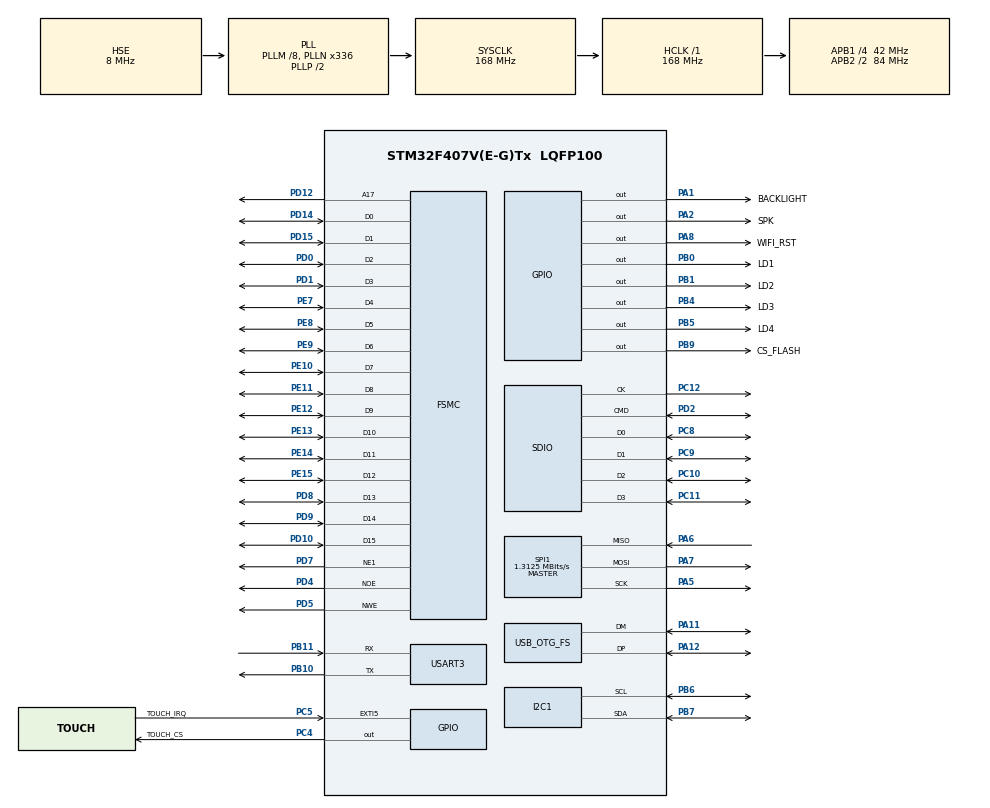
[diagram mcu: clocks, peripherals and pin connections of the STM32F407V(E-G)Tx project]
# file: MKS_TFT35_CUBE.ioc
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Dma.Request0=SDIO_RX
Dma.Request1=SDIO_TX
Dma.SDIO_RX.0.Direction=DMA_PERIPH_TO_MEMORY
Dma.SDIO_RX.0.FIFOMode=DMA_FIFOMODE_ENABLE
Dma.SDIO_RX.0.FIFOThreshold=DMA_FIFO_THRESHOLD_FULL
Dma.SDIO_RX.0.Instance=DMA2_Stream3
Dma.SDIO_RX.0.MemBurst=DMA_MBURST_INC4
Dma.SDIO_RX.0.MemDataAlignment=DMA_MDATAALIGN_WORD
Dma.SDIO_RX.0.MemInc=DMA_MINC_ENABLE
Dma.SDIO_RX.0.Mode=DMA_PFCTRL
Dma.SDIO_RX.0.PeriphBurst=DMA_PBURST_INC4
Dma.SDIO_RX.0.PeriphDataAlignment=DMA_PDATAALIGN_WORD
Dma.SDIO_RX.0.PeriphInc=DMA_PINC_DISABLE
Dma.SDIO_RX.0.Priority=DMA_PRIORITY_VERY_HIGH
Dma.SDIO_TX.1.Direction=DMA_MEMORY_TO_PERIPH
Dma.SDIO_TX.1.FIFOMode=DMA_FIFOMODE_ENABLE
Dma.SDIO_TX.1.FIFOThreshold=DMA_FIFO_THRESHOLD_FULL
Dma.SDIO_TX.1.Instance=DMA2_Stream6
Dma.SDIO_TX.1.MemBurst=DMA_MBURST_INC4
Dma.SDIO_TX.1.MemDataAlignment=DMA_MDATAALIGN_WORD
Dma.SDIO_TX.1.MemInc=DMA_MINC_ENABLE
Dma.SDIO_TX.1.Mode=DMA_PFCTRL
Dma.SDIO_TX.1.PeriphBurst=DMA_PBURST_INC4
Dma.SDIO_TX.1.PeriphDataAlignment=DMA_PDATAALIGN_WORD
Dma.SDIO_TX.1.PeriphInc=DMA_PINC_DISABLE
Dma.SDIO_TX.1.Priority=DMA_PRIORITY_VERY_HIGH
FATFS.USE_DMA_CODE_SD=1
FATFS._FS_RPATH=2
FATFS._MAX_SS=512
FATFS._USE_FIND=1
FATFS._USE_LFN=1
FSMC.AccessMode1=FSMC_ACCESS_MODE_D
FSMC.AddressHoldTime1=1
FSMC.AddressSetupTime1=1
FSMC.BusTurnAroundDuration1=0
FSMC.DataSetupTime1=1
FSMC.ExtendedAccessMode1=FSMC_ACCESS_MODE_D
FSMC.ExtendedAddressHoldTime1=1
FSMC.ExtendedAddressSetupTime1=1
FSMC.ExtendedBusTurnAroundDuration1=0
FSMC.ExtendedDataSetupTime1=1
FSMC.ExtendedMode1=FSMC_EXTENDED_MODE_ENABLE
Mcu.Family=STM32F4
Mcu.Name=STM32F407V(E-G)Tx
Mcu.Package=LQFP100
NVIC.DMA2_Stream3_IRQn=true\:0\:0\:false\:true\:true\:3\:false\:true\:true
NVIC.DMA2_Stream6_IRQn=true\:0\:0\:false\:true\:true\:2\:false\:true\:true
NVIC.EXTI9_5_IRQn=true\:0\:0\:false\:true\:true\:4\:true\:true\:true
NVIC.OTG_FS_IRQn=true\:0\:0\:false\:false\:true\:false\:true\:true
NVIC.PriorityGroup=NVIC_PRIORITYGROUP_4
NVIC.SDIO_IRQn=true\:0\:0\:false\:true\:true\:1\:true\:true\:true
PA1.GPIO_Label=BACKLIGHT
PA1.PinState=GPIO_PIN_SET
PA1.Signal=GPIO_Output
PA11.Mode=Host_Only
PA11.Signal=USB_OTG_FS_DM
PA12.Mode=Host_Only
PA12.Signal=USB_OTG_FS_DP
PA13.Mode=Serial_Wire
PA13.Signal=SYS_JTMS-SWDIO
PA14.Mode=Serial_Wire
PA14.Signal=SYS_JTCK-SWCLK
PA2.GPIO_Label=SPK
PA2.Signal=GPIO_Output
PA5.Mode=Full_Duplex_Master
PA5.Signal=SPI1_SCK
PA6.Mode=Full_Duplex_Master
PA6.Signal=SPI1_MISO
PA7.Mode=Full_Duplex_Master
PA7.Signal=SPI1_MOSI
PA8.GPIO_Label=WIFI_RST
PA8.Signal=GPIO_Output
PB0.GPIO_Label=LD1
PB0.Signal=GPIO_Output
PB1.GPIO_Label=LD2
PB1.Signal=GPIO_Output
PB10.Mode=Asynchronous
PB10.Signal=USART3_TX
PB11.Mode=Asynchronous
PB11.Signal=USART3_RX
PB4.GPIO_Label=LD3
PB4.Signal=GPIO_Output
PB5.GPIO_Label=LD4
PB5.Signal=GPIO_Output
PB6.Mode=I2C
PB6.Signal=I2C1_SCL
PB7.Mode=I2C
PB7.Signal=I2C1_SDA
PB9.GPIO_Label=CS_FLASH
PB9.PinState=GPIO_PIN_SET
PB9.Signal=GPIO_Output
PC10.Mode=SD_4_bits_Wide_bus
PC10.Signal=SDIO_D2
PC11.Mode=SD_4_bits_Wide_bus
PC11.Signal=SDIO_D3
PC12.Mode=SD_4_bits_Wide_bus
PC12.Signal=SDIO_CK
PC14-OSC32_IN.Mode=LSE-External-Oscillator
PC14-OSC32_IN.Signal=RCC_OSC32_IN
PC15-OSC32_OUT.Mode=LSE-External-Oscillator
PC15-OSC32_OUT.Signal=RCC_OSC32_OUT
PC4.GPIO_Label=TOUCH_CS
PC4.Signal=GPIO_Output
PC5.GPIO_Label=TOUCH_IRQ
PC5.GPIO_ModeDefaultEXTI=GPIO_MODE_IT_FALLING
PC5.Signal=GPXTI5
PC8.Mode=SD_4_bits_Wide_bus
PC8.Signal=SDIO_D0
PC9.Mode=SD_4_bits_Wide_bus
PC9.Signal=SDIO_D1
PD0.Mode=16b-d1
PD0.Signal=FSMC_D2
PD1.Mode=16b-d1
PD1.Signal=FSMC_D3
PD10.Mode=16b-d1
PD10.Signal=FSMC_D15
PD12.Mode=A17_1
PD12.Signal=FSMC_A17
PD14.Mode=16b-d1
PD14.Signal=FSMC_D0
PD15.Mode=16b-d1
PD15.Signal=FSMC_D1
PD2.Mode=SD_4_bits_Wide_bus
PD2.Signal=SDIO_CMD
PD4.Mode=Lcd1
PD4.Signal=FSMC_NOE
PD5.Mode=Lcd1
PD5.Signal=FSMC_NWE
PD7.Mode=NorPsramChipSelect1_1
PD7.Signal=FSMC_NE1
PD8.Mode=16b-d1
PD8.Signal=FSMC_D13
PD9.Mode=16b-d1
PD9.Signal=FSMC_D14
PE10.Mode=16b-d1
PE10.Signal=FSMC_D7
PE11.Mode=16b-d1
PE11.Signal=FSMC_D8
PE12.Mode=16b-d1
PE12.Signal=FSMC_D9
PE13.Mode=16b-d1
PE13.Signal=FSMC_D10
PE14.Mode=16b-d1
PE14.Signal=FSMC_D11
PE15.Mode=16b-d1
PE15.Signal=FSMC_D12
PE7.Mode=16b-d1
PE7.Signal=FSMC_D4
PE8.Mode=16b-d1
PE8.Signal=FSMC_D5
PE9.Mode=16b-d1
PE9.Signal=FSMC_D6
PH0-OSC_IN.Mode=HSE-External-Oscillator
PH0-OSC_IN.Signal=RCC_OSC_IN
PH1-OSC_OUT.Mode=HSE-External-Oscillator
PH1-OSC_OUT.Signal=RCC_OSC_OUT
ProjectManager.HeapSize=0x800
ProjectManager.StackSize=0x1000
ProjectManager.TargetToolchain=STM32CubeIDE
RCC.48MHZClocksFreq_Value=48000000
RCC.AHBFreq_Value=168000000
RCC.APB1CLKDivider=RCC_HCLK_DIV4
RCC.APB1Freq_Value=42000000
RCC.APB1TimFreq_Value=84000000
RCC.APB2CLKDivider=RCC_HCLK_DIV2
RCC.APB2Freq_Value=84000000
RCC.APB2TimFreq_Value=168000000
RCC.CortexFreq_Value=168000000
RCC.HCLKFreq_Value=168000000
RCC.HSE_VALUE=8000000
RCC.HSI_VALUE=16000000
RCC.PLLM=8
RCC.PLLN=336
RCC.PLLQ=7
RCC.SYSCLKFreq_VALUE=168000000
RCC.SYSCLKSource=RCC_SYSCLKSOURCE_PLLCLK
RCC.VCOOutputFreq_Value=336000000
SDIO.ClockBypass=SDIO_CLOCK_BYPASS_DISABLE
SDIO.ClockDiv=0
SDIO.ClockPowerSave=SDIO_CLOCK_POWER_SAVE_ENABLE
SDIO.HardwareFlowControl=SDIO_HARDWARE_FLOW_CONTROL_ENABLE
SPI1.BaudRatePrescaler=SPI_BAUDRATEPRESCALER_64
SPI1.CalculateBaudRate=1.3125 MBits/s
SPI1.Direction=SPI_DIRECTION_2LINES
SPI1.Mode=SPI_MODE_MASTER
SPI1.VirtualType=VM_MASTER
USART3.VirtualMode=VM_ASYNC
USB_HOST.USBH_HandleTypeDef-MSC_FS=hUsbHostFS
USB_HOST.VirtualModeFS=Msc
USB_OTG_FS.VirtualMode=Host_Only
USB_OTG_FS.phy_itface=HCD_PHY_EMBEDDED
USB_OTG_FS.speed=HCD_SPEED_FULL
VP_FATFS_VS_SDIO.Mode=SDIO
VP_FATFS_VS_USB.Mode=USB
VP_LIBJPEG_VS_JPEGLIB.Mode=Enabled
VP_RTC_VS_RTC_Activate.Mode=RTC_Enabled
VP_RTC_VS_RTC_Calendar.Mode=RTC_Calendar
VP_USB_HOST_VS_USB_HOST_MSC_FS.Mode=MSC_FS
board=custom

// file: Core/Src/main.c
/* USER CODE BEGIN Header */
/**
  ******************************************************************************
  * @file           : main.c
  * @brief          : Main program body
  ******************************************************************************
  * @attention
  *
  * Copyright (c) 2022 STMicroelectronics.
  * All rights reserved.
  *
  * This software is licensed under terms that can be found in the LICENSE file
  * in the root directory of this software component.
  * If no LICENSE file comes with this software, it is provided AS-IS.
  *
  ******************************************************************************
  */
/* USER CODE END Header */
#include "main.h"
#include "dma.h"
#include "fatfs.h"
#include "i2c.h"
#include "libjpeg.h"
#include "rtc.h"
#include "sdio.h"
#include "spi.h"
#include "usart.h"
#include "usb_host.h"
#include "gpio.h"
#include "fsmc.h"

/* USER CODE BEGIN Includes */
#include "stdio.h"
#include "string.h"
#include "TFT_ILI.h"

#include "GFX_Color.h"
#include "fonts/fonts.h"
//#include "logo.h"
//#include "tecza.h"
#include "GFX_EnhancedFonts.h"
#include "EnhancedFonts/arialBlack_20ptFontInfo.h"

#include "XPT2064.h"

#include "paint.h"

/* USER CODE END Includes */

/* USER CODE BEGIN PV */

///////////////////

extern ApplicationTypeDef Appli_state; 	//ZMIENNA APLIKACJI W JAKIM JEST STANIE O ODPOWIEDNIM TYPIE////////////////////////////////////////////////////////////

extern uint8_t retSD;    /* Return value for SD */
extern char SDPath[4];   /* SD logical drive path */
extern FATFS SDFatFS;    /* File system object for SD logical drive */
extern FIL SDFile;       /* File object for SD */

extern uint8_t retUSBH;    /* Return value for USBH */
extern char USBHPath[4];   /* USBH logical drive path */
extern FATFS USBHFatFS;    /* File system object for USBH logical drive */
extern FIL USBHFile;       /* File object for USBH */

uint8_t Bytes;
char Data[128];

uint8_t Msg[32];

volatile uint16_t Xread;
volatile uint16_t Yread;

/* USER CODE END PV */

void SystemClock_Config(void);
static void MX_NVIC_Init(void);
void MX_USB_HOST_Process(void);

int main(void)
{

  /* MCU Configuration--------------------------------------------------------*/

  /* Reset of all peripherals, Initializes the Flash interface and the Systick. */
  HAL_Init();

  /* Configure the system clock */
  SystemClock_Config();

  /* Initialize all configured peripherals */
  MX_GPIO_Init();
  MX_DMA_Init();
  MX_USART3_UART_Init();
  MX_USB_HOST_Init();
  MX_SDIO_SD_Init();
  MX_FATFS_Init();
  MX_FSMC_Init();
  MX_LIBJPEG_Init();
  MX_SPI1_Init();
  MX_I2C1_Init();
  MX_RTC_Init();

  /* Initialize interrupts */
  MX_NVIC_Init();
  /* USER CODE BEGIN 2 */

  ILI_Init();

  GFX_SetFont(font_8x5);
  EF_SetFont(&arialBlack_20ptFontInfo);

  XPT2046_Init(&hspi1, EXTI9_5_IRQn);

//  uint32_t Timer = HAL_GetTick();
//  uint32_t OneTime=1;

  DoCalibration();
  ILI_ClearDisplay(ILI_WHITE);

//  DoCalibration();

  /* USER CODE END 2 */

  /* Infinite loop */
  /* USER CODE BEGIN WHILE */

  while (1)
  {

	  XPT2046_Task();

	  Paint();

//
//
//
//
//	  switch(Appli_state)
//	  	  {
//	  		case APPLICATION_IDLE:
//
//
//	  			break;
//
//	  		case APPLICATION_START:
//	  			  retUSBH = f_mount(&USBHFatFS, (const TCHAR*)USBHPath, 0);
//	  			  if(retUSBH != FR_OK)
//	  			  {
//	  			  	  Bytes = sprintf(Data, "FatFS mount error.\n\r");
//	  			  	  HAL_UART_Transmit(&huart3, (uint8_t*)Data, Bytes, 1000);
//	  			  }
//	  			  else
//	  			  {
//	  				  Bytes = sprintf(Data, "FatFS mounted.\n\r");
//	  			  	  HAL_UART_Transmit(&huart3, (uint8_t*)Data, Bytes, 1000);
//	  			  }
//
//	  			break;
//
//	  		case APPLICATION_READY:
//
//	  			if((retUSBH == FR_OK) && ((HAL_GetTick() - Timer) > 4000))
//
//
//	  			{
//	  				  	Timer = HAL_GetTick();
//
//	  				  	HAL_GPIO_WritePin(LD1_GPIO_Port, LD1_Pin, 1);
//
//	  				  	DIR dj;
//	  				  	FILINFO fno;
//
//	  				  	retUSBH = f_chdrive(USBHPath);
//
//	  				  	retUSBH = f_findfirst(&dj, &fno, "", "*.jpg");  /* Start to search for photo files */
//
//	  				  	while (retUSBH == FR_OK && fno.fname[0] && OneTime)
//	  				  	{
//	  				  		ILI_DrawJPEG(0, 0, fno.fname);
//	  				  		retUSBH = f_findnext(&dj, &fno);
//	  				  		OneTime = 0;
//	  				  	}
//
//	  				  	f_closedir(&dj);
//		  			}
//
//		  			break;
//
//	  		case APPLICATION_DISCONNECT:
//	  			HAL_GPIO_WritePin(LD1_GPIO_Port, LD1_Pin, 0);
//	  			break;
//
//	  		default:
//	  			break;
//	  	}
//
//

    /* USER CODE END WHILE */
    MX_USB_HOST_Process();

  }
}

void SystemClock_Config(void)
{
  RCC_OscInitTypeDef RCC_OscInitStruct = {0};
  RCC_ClkInitTypeDef RCC_ClkInitStruct = {0};

  /** Configure the main internal regulator output voltage
  */
  __HAL_RCC_PWR_CLK_ENABLE();
  __HAL_PWR_VOLTAGESCALING_CONFIG(PWR_REGULATOR_VOLTAGE_SCALE1);

  /** Initializes the RCC Oscillators according to the specified parameters
  * in the RCC_OscInitTypeDef structure.
  */
  RCC_OscInitStruct.OscillatorType = RCC_OSCILLATORTYPE_LSI|RCC_OSCILLATORTYPE_HSE;
  RCC_OscInitStruct.HSEState = RCC_HSE_ON;
  RCC_OscInitStruct.LSIState = RCC_LSI_ON;
  RCC_OscInitStruct.PLL.PLLState = RCC_PLL_ON;
  RCC_OscInitStruct.PLL.PLLSource = RCC_PLLSOURCE_HSE;
  RCC_OscInitStruct.PLL.PLLM = 8;
  RCC_OscInitStruct.PLL.PLLN = 336;
  RCC_OscInitStruct.PLL.PLLP = RCC_PLLP_DIV2;
  RCC_OscInitStruct.PLL.PLLQ = 7;
  if (HAL_RCC_OscConfig(&RCC_OscInitStruct) != HAL_OK)
  {
    Error_Handler();
  }

  /** Initializes the CPU, AHB and APB buses clocks
  */
  RCC_ClkInitStruct.ClockType = RCC_CLOCKTYPE_HCLK|RCC_CLOCKTYPE_SYSCLK
                              |RCC_CLOCKTYPE_PCLK1|RCC_CLOCKTYPE_PCLK2;
  RCC_ClkInitStruct.SYSCLKSource = RCC_SYSCLKSOURCE_PLLCLK;
  RCC_ClkInitStruct.AHBCLKDivider = RCC_SYSCLK_DIV1;
  RCC_ClkInitStruct.APB1CLKDivider = RCC_HCLK_DIV4;
  RCC_ClkInitStruct.APB2CLKDivider = RCC_HCLK_DIV2;

  if (HAL_RCC_ClockConfig(&RCC_ClkInitStruct, FLASH_LATENCY_5) != HAL_OK)
  {
    Error_Handler();
  }
}

/**
  * @brief NVIC Configuration.
  * @retval None
  */
static void MX_NVIC_Init(void)
{
  /* SDIO_IRQn interrupt configuration */
  HAL_NVIC_SetPriority(SDIO_IRQn, 0, 0);
  HAL_NVIC_EnableIRQ(SDIO_IRQn);
  /* DMA2_Stream6_IRQn interrupt configuration */
  HAL_NVIC_SetPriority(DMA2_Stream6_IRQn, 0, 0);
  HAL_NVIC_EnableIRQ(DMA2_Stream6_IRQn);
  /* DMA2_Stream3_IRQn interrupt configuration */
  HAL_NVIC_SetPriority(DMA2_Stream3_IRQn, 0, 0);
  HAL_NVIC_EnableIRQ(DMA2_Stream3_IRQn);
  /* EXTI9_5_IRQn interrupt configuration */
  HAL_NVIC_SetPriority(EXTI9_5_IRQn, 0, 0);
  HAL_NVIC_EnableIRQ(EXTI9_5_IRQn);
}

/* USER CODE BEGIN 4 */

void HAL_GPIO_EXTI_Callback(uint16_t GPIO_Pin)
{
	if(GPIO_Pin == TOUCH_IRQ_Pin)
	{
		XPT2046_IRQ();
	}
}

/* USER CODE END 4 */

void Error_Handler(void)
{
  __disable_irq();
  while (1)
  {
  }
}
